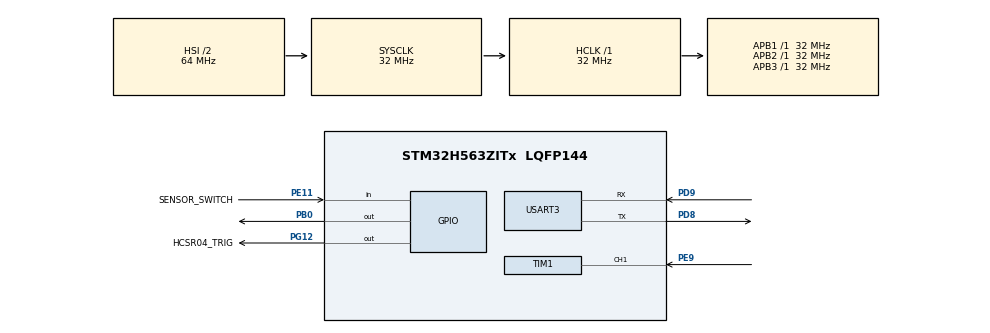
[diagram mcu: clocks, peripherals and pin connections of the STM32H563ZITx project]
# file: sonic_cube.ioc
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BOOTPATH.BootPathName=LEGACY
BOOTPATH.UserSelectedBootPath=LEGACY
CORTEX_M33_NS.Number-Cortex_Memory_Protection_Unit_Region0_OTP_RO_AREAS_Settings=MPU_REGION_NUMBER0
CORTEX_M33_NS.default_mode_Activation=1
CORTEX_M33_NS.userName=CORTEX_M33
Mcu.Family=STM32H5
Mcu.Name=STM32H563ZITx
Mcu.Package=LQFP144
NVIC.PriorityGroup=NVIC_PRIORITYGROUP_4
NVIC.TIM1_CC_IRQn=true\:0\:0\:false\:false\:true\:true\:true\:true
PB0.Signal=GPIO_Output
PD8.Mode=Asynchronous
PD8.Signal=USART3_TX
PD9.Mode=Asynchronous
PD9.Signal=USART3_RX
PE11.GPIO_Label=SENSOR_SWITCH
PE11.GPIO_PuPd=GPIO_PULLDOWN
PE11.Signal=GPIO_Input
PE9.Signal=S_TIM1_CH1
PG12.GPIO_Label=HCSR04_TRIG
PG12.Signal=GPIO_Output
ProjectManager.HeapSize=0x200
ProjectManager.StackSize=0x400
ProjectManager.TargetToolchain=STM32CubeIDE
RCC.ADCFreq_Value=32000000
RCC.AHBFreq_Value=32000000
RCC.APB1Freq_Value=32000000
RCC.APB1TimFreq_Value=32000000
RCC.APB2Freq_Value=32000000
RCC.APB2TimFreq_Value=32000000
RCC.APB3Freq_Value=32000000
RCC.CSI_VALUE=4000000
RCC.CortexFreq_Value=32000000
RCC.EPOD_VALUE=4000000
RCC.HCLKFreq_Value=32000000
RCC.HSE_VALUE=25000000
RCC.HSI48_VALUE=48000000
RCC.HSI_VALUE=64000000
RCC.LSE_VALUE=32768
RCC.LSIRC_VALUE=32000
RCC.SYSCLKFreq_VALUE=32000000
RCC.USBFreq_Value=48000000
RCC.VCOOutputFreq_Value=516000000
SH.S_TIM1_CH1.0=TIM1_CH1,Input_Capture1_from_TI1
TIM1.Channel-Input_Capture1_from_TI1=TIM_CHANNEL_1
TIM1.Prescaler=31
USART3.VirtualMode-Asynchronous=VM_ASYNC
VP_BOOTPATH_VS_BOOTPATH.Mode=BP_Activate
VP_CORTEX_M33_NS_VS_Hclk.Mode=Hclk_Mode
VP_ICACHE_VS_ICACHE.Mode=DirectMappedCache
VP_MEMORYMAP_VS_MEMORYMAP.Mode=CurAppReg
VP_PWR_VS_LPOM.Mode=PowerOptimisation
VP_PWR_VS_SECSignals.Mode=Security/Privilege
VP_TIM1_VS_ClockSourceINT.Mode=Internal
board=custom

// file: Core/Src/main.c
/* USER CODE BEGIN Header */
/**
  ******************************************************************************
  * @file           : main.c
  * @brief          : Main program body
  ******************************************************************************
  * @attention
  *
  * Copyright (c) 2026 STMicroelectronics.
  * All rights reserved.
  *
  ******************************************************************************
  */
/* USER CODE END Header */
#include "main.h"
#include "icache.h"
#include "tim.h"
#include "usart.h"
#include "gpio.h"

/* USER CODE BEGIN Includes */

#include <stdio.h>

/* USER CODE END Includes */

/* USER CODE BEGIN PV */
uint8_t last_switch_state = 2;
volatile uint32_t capture1 = 0;
volatile uint32_t capture2 = 0;
volatile uint32_t echo_time = 0;

volatile uint8_t first_capture = 1;
volatile uint8_t measurement_ready = 0;

/* USER CODE END PV */

void SystemClock_Config(void);
static void MPU_Config(void);

/* USER CODE BEGIN 0 */

void delay_us(uint16_t us)
{
    __HAL_TIM_SET_COUNTER(&htim1, 0);

    while (__HAL_TIM_GET_COUNTER(&htim1) < us)
    {
    }
}

void HCSR04_Trigger(void)
{
    /* Pregatim o masuratoare noua */
    measurement_ready = 0;
    first_capture = 1;

    __HAL_TIM_SET_CAPTUREPOLARITY(
        &htim1,
        TIM_CHANNEL_1,
        TIM_INPUTCHANNELPOLARITY_RISING
    );

    __HAL_TIM_CLEAR_FLAG(&htim1, TIM_FLAG_CC1);

    /* TRIG trebuie sa fie LOW initial */
    HAL_GPIO_WritePin(
        GPIOG,
        GPIO_PIN_12,
        GPIO_PIN_RESET
    );

    delay_us(2);

    /* Puls de trigger ~10 us */
    HAL_GPIO_WritePin(
        GPIOG,
        GPIO_PIN_12,
        GPIO_PIN_SET
    );

    delay_us(10);

    HAL_GPIO_WritePin(
        GPIOG,
        GPIO_PIN_12,
        GPIO_PIN_RESET
    );

    /*
     * Resetam counter-ul imediat dupa TRIG.
     * De aici TIM1 numara in microsecunde.
     */
    __HAL_TIM_SET_COUNTER(&htim1, 0);
}

/* USER CODE END 0 */

int main(void)
{

  /* MCU Configuration--------------------------------------------------------*/

  /* MPU Configuration--------------------------------------------------------*/
  MPU_Config();

  /* Reset of all peripherals, Initializes the Flash interface and the Systick. */
  HAL_Init();

  /* Configure the system clock */
  SystemClock_Config();

  /* Initialize all configured peripherals */
  MX_GPIO_Init();
  MX_ICACHE_Init();
  MX_TIM1_Init();
  MX_USART3_UART_Init();
  /* USER CODE BEGIN 2 */

    if (HAL_TIM_IC_Start_IT(&htim1, TIM_CHANNEL_1) != HAL_OK)
    {
        Error_Handler();
    }

  /* USER CODE END 2 */

  /* Infinite loop */
  /* USER CODE BEGIN WHILE */

    while (1)
    {
        uint8_t switch_state =
            (HAL_GPIO_ReadPin(GPIOE, GPIO_PIN_11) == GPIO_PIN_SET);

        /* Afisam doar cand switch-ul isi schimba starea */
        if (switch_state != last_switch_state)
        {
            last_switch_state = switch_state;

            if (switch_state)
            {
                char message[] = "SENSOR ON\r\n";

                HAL_UART_Transmit(
                    &huart3,
                    (uint8_t *)message,
                    sizeof(message) - 1,
                    HAL_MAX_DELAY
                );
            }
            else
            {
                char message[] = "SENSOR OFF\r\n";

                HAL_UART_Transmit(
                    &huart3,
                    (uint8_t *)message,
                    sizeof(message) - 1,
                    HAL_MAX_DELAY
                );
            }
        }

        if (switch_state)
        {
            HCSR04_Trigger();

            HAL_Delay(100);

            if (measurement_ready)
            {
                measurement_ready = 0;

                uint32_t distance_cm = echo_time / 58;

                char buffer[64];

                int len = snprintf(
                    buffer,
                    sizeof(buffer),
                    "Distance: %lu cm\r\n",
                    (unsigned long)distance_cm
                );

                HAL_UART_Transmit(
                    &huart3,
                    (uint8_t *)buffer,
                    (uint16_t)len,
                    HAL_MAX_DELAY
                );
            }

            HAL_Delay(100);
        }
        else
        {
            HAL_Delay(100);
        }

    /* USER CODE END WHILE */

    }
}

void SystemClock_Config(void)
{
  RCC_OscInitTypeDef RCC_OscInitStruct = {0};
  RCC_ClkInitTypeDef RCC_ClkInitStruct = {0};

  /** Configure the main internal regulator output voltage
  */
  __HAL_PWR_VOLTAGESCALING_CONFIG(PWR_REGULATOR_VOLTAGE_SCALE3);

  while(!__HAL_PWR_GET_FLAG(PWR_FLAG_VOSRDY)) {}

  /** Initializes the RCC Oscillators according to the specified parameters
  * in the RCC_OscInitTypeDef structure.
  */
  RCC_OscInitStruct.OscillatorType = RCC_OSCILLATORTYPE_HSI;
  RCC_OscInitStruct.HSIState = RCC_HSI_ON;
  RCC_OscInitStruct.HSIDiv = RCC_HSI_DIV2;
  RCC_OscInitStruct.HSICalibrationValue = RCC_HSICALIBRATION_DEFAULT;
  RCC_OscInitStruct.PLL.PLLState = RCC_PLL_NONE;
  if (HAL_RCC_OscConfig(&RCC_OscInitStruct) != HAL_OK)
  {
    Error_Handler();
  }

  /** Initializes the CPU, AHB and APB buses clocks
  */
  RCC_ClkInitStruct.ClockType = RCC_CLOCKTYPE_HCLK|RCC_CLOCKTYPE_SYSCLK
                              |RCC_CLOCKTYPE_PCLK1|RCC_CLOCKTYPE_PCLK2
                              |RCC_CLOCKTYPE_PCLK3;
  RCC_ClkInitStruct.SYSCLKSource = RCC_SYSCLKSOURCE_HSI;
  RCC_ClkInitStruct.AHBCLKDivider = RCC_SYSCLK_DIV1;
  RCC_ClkInitStruct.APB1CLKDivider = RCC_HCLK_DIV1;
  RCC_ClkInitStruct.APB2CLKDivider = RCC_HCLK_DIV1;
  RCC_ClkInitStruct.APB3CLKDivider = RCC_HCLK_DIV1;

  if (HAL_RCC_ClockConfig(&RCC_ClkInitStruct, FLASH_LATENCY_1) != HAL_OK)
  {
    Error_Handler();
  }

  /** Configure the programming delay
  */
  __HAL_FLASH_SET_PROGRAM_DELAY(FLASH_PROGRAMMING_DELAY_0);
}

/* USER CODE BEGIN 4 */

void HAL_TIM_IC_CaptureCallback(
    TIM_HandleTypeDef *htim
)
{
    if (
        htim->Instance == TIM1 &&
        htim->Channel == HAL_TIM_ACTIVE_CHANNEL_1
    )
    {
        /*
         * Prima intrerupere:
         * rising edge al semnalului ECHO.
         */
        if (first_capture)
        {
            capture1 =
                HAL_TIM_ReadCapturedValue(
                    htim,
                    TIM_CHANNEL_1
                );

            first_capture = 0;

            /*
             * Acum vrem sa prindem falling edge.
             */
            __HAL_TIM_SET_CAPTUREPOLARITY(
                htim,
                TIM_CHANNEL_1,
                TIM_INPUTCHANNELPOLARITY_FALLING
            );
        }

        /*
         * A doua intrerupere:
         * falling edge al semnalului ECHO.
         */
        else
        {
            capture2 =
                HAL_TIM_ReadCapturedValue(
                    htim,
                    TIM_CHANNEL_1
                );

            /*
             * Calculam latimea pulsului ECHO.
             * Tratam si cazul in care timerul
             * a facut overflow.
             */
            if (capture2 >= capture1)
            {
                echo_time =
                    capture2 - capture1;
            }
            else
            {
                echo_time =
                    (65536U - capture1)
                    + capture2;
            }

            measurement_ready = 1;
            first_capture = 1;

            /*
             * Pregatim timerul pentru
             * urmatoarea masuratoare.
             */
            __HAL_TIM_SET_CAPTUREPOLARITY(
                htim,
                TIM_CHANNEL_1,
                TIM_INPUTCHANNELPOLARITY_RISING
            );
        }
    }
}

/* USER CODE END 4 */

 /* MPU Configuration */

void MPU_Config(void)
{
  MPU_Region_InitTypeDef MPU_InitStruct = {0};
  MPU_Attributes_InitTypeDef MPU_AttributesInit = {0};

  /* Disables the MPU */
  HAL_MPU_Disable();

  /** Initializes and configures the Region 0 and the memory to be protected
  */
  MPU_InitStruct.Enable = MPU_REGION_ENABLE;
  MPU_InitStruct.Number = MPU_REGION_NUMBER0;
  MPU_InitStruct.BaseAddress = 0x08FFF000;
  MPU_InitStruct.LimitAddress = 0x08FFFFFF;
  MPU_InitStruct.AttributesIndex = MPU_ATTRIBUTES_NUMBER0;
  MPU_InitStruct.AccessPermission = MPU_REGION_ALL_RO;
  MPU_InitStruct.DisableExec = MPU_INSTRUCTION_ACCESS_DISABLE;
  MPU_InitStruct.IsShareable = MPU_ACCESS_NOT_SHAREABLE;

  HAL_MPU_ConfigRegion(&MPU_InitStruct);

  /** Initializes and configures the Attribute 0 and the memory to be protected
  */
  MPU_AttributesInit.Number = MPU_ATTRIBUTES_NUMBER0;
  MPU_AttributesInit.Attributes = INNER_OUTER(MPU_NOT_CACHEABLE);

  HAL_MPU_ConfigMemoryAttributes(&MPU_AttributesInit);
  /* Enables the MPU */
  HAL_MPU_Enable(MPU_PRIVILEGED_DEFAULT);

}

void Error_Handler(void)
{
    __disable_irq();
    while (1)
    {
    }
}
